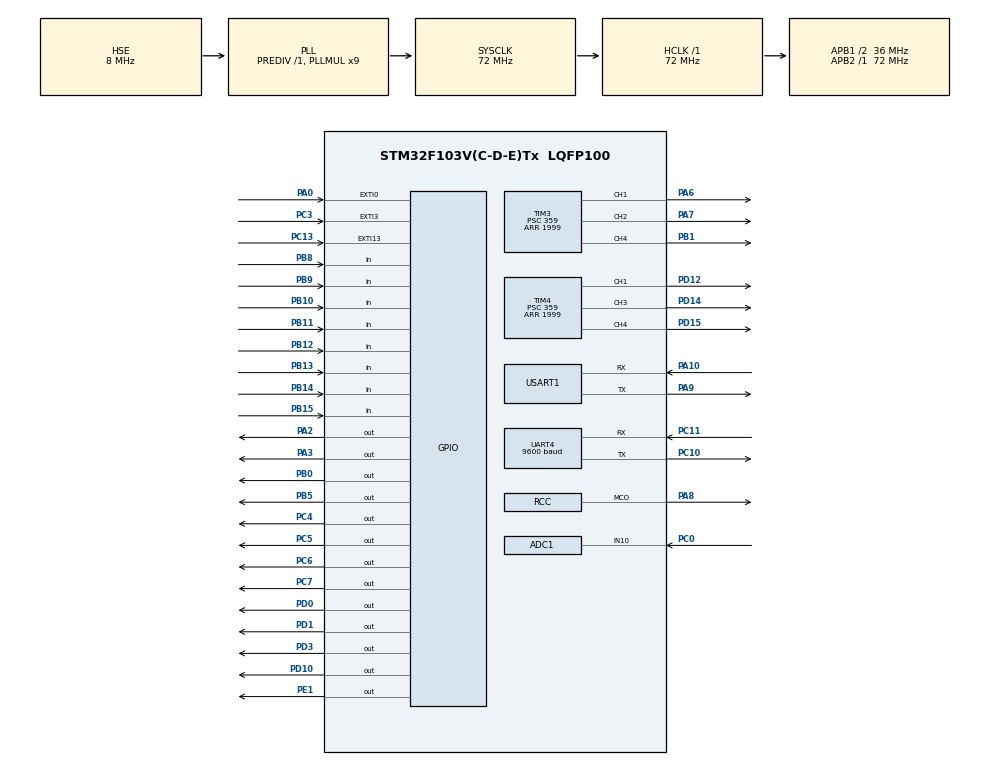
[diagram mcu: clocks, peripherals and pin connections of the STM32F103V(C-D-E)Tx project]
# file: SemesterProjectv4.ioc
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ADC1.Channel-2\#ChannelRegularConversion=ADC_CHANNEL_10
ADC1.ContinuousConvMode=ENABLE
ADC1.NbrOfConversion=1
ADC1.NbrOfConversionFlag=1
ADC1.Rank-2\#ChannelRegularConversion=1
ADC1.SamplingTime-2\#ChannelRegularConversion=ADC_SAMPLETIME_55CYCLES_5
ADC1.master=1
Mcu.Family=STM32F1
Mcu.Name=STM32F103V(C-D-E)Tx
Mcu.Package=LQFP100
NVIC.EXTI0_IRQn=true\:0\:0\:false\:false\:true\:true\:true\:true
NVIC.EXTI15_10_IRQn=true\:0\:0\:false\:false\:true\:true\:true\:true
NVIC.EXTI3_IRQn=true\:0\:0\:false\:false\:true\:true\:true\:true
NVIC.PriorityGroup=NVIC_PRIORITYGROUP_4
NVIC.UART4_IRQn=true\:0\:0\:false\:false\:true\:true\:true\:true
OSC_IN.Mode=HSE-External-Oscillator
OSC_IN.Signal=RCC_OSC_IN
OSC_OUT.Mode=HSE-External-Oscillator
OSC_OUT.Signal=RCC_OSC_OUT
PA0-WKUP.Signal=GPXTI0
PA10.Mode=Asynchronous
PA10.Signal=USART1_RX
PA13.Mode=Serial_Wire
PA13.Signal=SYS_JTMS-SWDIO
PA14.Mode=Serial_Wire
PA14.Signal=SYS_JTCK-SWCLK
PA2.GPIO_Speed=GPIO_SPEED_FREQ_HIGH
PA2.Signal=GPIO_Output
PA3.GPIO_Speed=GPIO_SPEED_FREQ_HIGH
PA3.Signal=GPIO_Output
PA6.Signal=S_TIM3_CH1
PA7.Signal=S_TIM3_CH2
PA8.GPIO_Speed=GPIO_SPEED_FREQ_HIGH
PA8.Mode=Clock-out
PA8.Signal=RCC_MCO
PA9.Mode=Asynchronous
PA9.Signal=USART1_TX
PB0.Signal=GPIO_Output
PB1.Signal=S_TIM3_CH4
PB10.Signal=GPIO_Input
PB11.Signal=GPIO_Input
PB12.Signal=GPIO_Input
PB13.Signal=GPIO_Input
PB14.Signal=GPIO_Input
PB15.Signal=GPIO_Input
PB5.PinState=GPIO_PIN_RESET
PB5.Signal=GPIO_Output
PB8.Signal=GPIO_Input
PB9.Signal=GPIO_Input
PC0.Signal=ADCx_IN10
PC10.Mode=Asynchronous
PC10.Signal=UART4_TX
PC11.Mode=Asynchronous
PC11.Signal=UART4_RX
PC13-TAMPER-RTC.Signal=GPXTI13
PC14-OSC32_IN.Mode=LSE-External-Oscillator
PC14-OSC32_IN.Signal=RCC_OSC32_IN
PC15-OSC32_OUT.Mode=LSE-External-Oscillator
PC15-OSC32_OUT.Signal=RCC_OSC32_OUT
PC3.GPIO_ModeDefaultEXTI=GPIO_MODE_IT_FALLING
PC3.Signal=GPXTI3
PC4.GPIO_Speed=GPIO_SPEED_FREQ_HIGH
PC4.Signal=GPIO_Output
PC5.GPIO_Speed=GPIO_SPEED_FREQ_HIGH
PC5.Signal=GPIO_Output
PC6.Signal=GPIO_Output
PC7.GPIO_ModeDefaultOutputPP=GPIO_MODE_OUTPUT_OD
PC7.GPIO_Speed=GPIO_SPEED_FREQ_HIGH
PC7.Signal=GPIO_Output
PD0.PinState=GPIO_PIN_SET
PD0.Signal=GPIO_Output
PD1.PinState=GPIO_PIN_SET
PD1.Signal=GPIO_Output
PD10.GPIO_Speed=GPIO_SPEED_FREQ_HIGH
PD10.Signal=GPIO_Output
PD12.Signal=S_TIM4_CH1
PD14.Signal=S_TIM4_CH3
PD15.Signal=S_TIM4_CH4
PD3.GPIO_Speed=GPIO_SPEED_FREQ_HIGH
PD3.Signal=GPIO_Output
PE1.GPIO_Speed=GPIO_SPEED_FREQ_HIGH
PE1.PinState=GPIO_PIN_RESET
PE1.Signal=GPIO_Output
ProjectManager.HeapSize=0x200
ProjectManager.StackSize=0x400
ProjectManager.TargetToolchain=STM32CubeIDE
RCC.ADCPresc=RCC_ADCPCLK2_DIV6
RCC.AHBFreq_Value=72000000
RCC.APB1CLKDivider=RCC_HCLK_DIV2
RCC.APB1Freq_Value=36000000
RCC.APB1TimFreq_Value=72000000
RCC.APB2Freq_Value=72000000
RCC.APB2TimFreq_Value=72000000
RCC.HCLKFreq_Value=72000000
RCC.PLLMUL=RCC_PLL_MUL9
RCC.PLLSourceVirtual=RCC_PLLSOURCE_HSE
RCC.RCC_MCOSource=RCC_MCO1SOURCE_PLLCLK
RCC.SYSCLKFreq_VALUE=72000000
RCC.SYSCLKSource=RCC_SYSCLKSOURCE_PLLCLK
RCC.USBFreq_Value=72000000
SH.ADCx_IN10.0=ADC1_IN10,IN10
SH.S_TIM3_CH1.0=TIM3_CH1,PWM Generation1 CH1
SH.S_TIM3_CH2.0=TIM3_CH2,PWM Generation2 CH2
SH.S_TIM3_CH4.0=TIM3_CH4,PWM Generation4 CH4
SH.S_TIM4_CH1.0=TIM4_CH1,PWM Generation1 CH1
SH.S_TIM4_CH3.0=TIM4_CH3,PWM Generation3 CH3
SH.S_TIM4_CH4.0=TIM4_CH4,PWM Generation4 CH4
TIM3.Channel-PWM\ Generation1\ CH1=TIM_CHANNEL_1
TIM3.Channel-PWM\ Generation2\ CH2=TIM_CHANNEL_2
TIM3.Channel-PWM\ Generation4\ CH4=TIM_CHANNEL_4
TIM3.Period=1999
TIM3.Prescaler=359
TIM4.Channel-PWM\ Generation1\ CH1=TIM_CHANNEL_1
TIM4.Channel-PWM\ Generation3\ CH3=TIM_CHANNEL_3
TIM4.Channel-PWM\ Generation4\ CH4=TIM_CHANNEL_4
TIM4.Period=1999
TIM4.Prescaler=359
TIM4.Pulse-PWM\ Generation1\ CH1=0
UART4.BaudRate=9600
UART4.Mode=MODE_RX
UART4.VirtualMode=Asynchronous
USART1.VirtualMode=VM_ASYNC
board=custom

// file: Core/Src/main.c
/* USER CODE BEGIN Header */
/**
  ******************************************************************************
  * @file           : main.c
  * @brief          : Main program body
  ******************************************************************************
  * @attention
  *
  * <h2><center>&copy; Copyright (c) 2019 STMicroelectronics.
  * All rights reserved.</center></h2>
  *
  * This software component is licensed by ST under BSD 3-Clause license,
  * the "License"; You may not use this file except in compliance with the
  * License. You may obtain a copy of the License at:
  *                        opensource.org/licenses/BSD-3-Clause
  *
  ******************************************************************************
  */
/* USER CODE END Header */
#include "main.h"

/* USER CODE BEGIN Includes */
#include "bsp_ov7725.h"
#include "bsp_sccb.h"
#include "bluetooth.h"
#include "image_proc.h"
#include <stdlib.h>
#include <stdio.h>

/* USER CODE END Includes */

/* USER CODE BEGIN PD */
#define BUFFER_LEN 8
#define LEFT_MOTOR 0
#define RIGHT_MOTOR 1
#define FORWARD 1
#define BACKWARD 0
#define LEFT 1
#define RIGHT 0
#define SLACK 25

#define CLAW_CLOSED 1
/* USER CODE END PD */

 ADC_HandleTypeDef hadc1;

TIM_HandleTypeDef htim3;
TIM_HandleTypeDef htim4;

UART_HandleTypeDef huart4;
UART_HandleTypeDef huart1;

/* USER CODE BEGIN PV */
uint8_t RxBuffer[BUFFER_LEN] = {0};
int cmd_received = 0;
uint8_t mode = 0; // mode: 2 = Arm retrieve; 1 = servo; 0 = motor
uint8_t frame[100][320];
int target = 0;
uint32_t adc_val = 0;
float grab_scalar = 0;
uint8_t grab_angle = 0;

uint16_t light_min = 4095;
uint16_t light_max = 0;
uint8_t claw_status = 0;
int light_callibrated = 0;
/* USER CODE END PV */

void SystemClock_Config(void);
static void MX_GPIO_Init(void);
static void MX_UART4_Init(void);
static void MX_TIM3_Init(void);
static void MX_TIM4_Init(void);
static void MX_USART1_UART_Init(void);
static void MX_ADC1_Init(void);
/* USER CODE BEGIN PFP */
volatile uint8_t Ov7725_vsync;
void rotateServo(int servoID, int angle);
void receiveCmd(void);
/* USER CODE END PFP */

/* USER CODE BEGIN 0 */
void HAL_UART_RxCpltCallback(UART_HandleTypeDef *huart)
{
    if(huart->Instance == huart4.Instance){
      cmd_received = 1;
      HAL_UART_Receive_IT(&huart4, RxBuffer, BUFFER_LEN);
    }

}

void rotateServo(int servoID, int angle){
    int angle1 = 450 - angle*(300/135);
    int angle2 = 280-(170/80)*30 +  angle*(170/80);
    int angle3 = 160 + angle*(75/60);
    switch (servoID){
        case 1: // (base)
            TIM3->CCR1 = angle1;
            break;
        case 2: // (up down)
        	TIM3->CCR4 = angle2;
            break;
        case 3: // (grab)
            TIM3->CCR2 = angle3;
            break;
    }
}

void setMotor(int motorID, int direction, int power){
  /*
  Set the motor direction and PWM
  Left motor: motorID = 0
  Right motor: motorID = 1
  Direction: 0 = forward
             1 = backward
  Power: 0<= power <= 100;
  */
 int pulse = 20*power;
  // 2000 pulse = 100%
  // 0 pulse = 0%
 switch(motorID){

  // left motor
  case LEFT_MOTOR:
    TIM4->CCR4 = pulse; //PD15
    HAL_GPIO_WritePin(GPIOD,GPIO_PIN_0,direction);
    break;

  //right motor
  case RIGHT_MOTOR:
    TIM4->CCR3 = pulse; //PD14
    HAL_GPIO_WritePin(GPIOD,GPIO_PIN_1,!direction);
    break;
 }

}

void turn(int direction, int power){
  switch(direction){
    case RIGHT:
      setMotor(LEFT_MOTOR, BACKWARD, power);
      setMotor(RIGHT_MOTOR, FORWARD, power);
      break;
    case LEFT:
      setMotor(LEFT_MOTOR, FORWARD, power);
      setMotor(RIGHT_MOTOR, BACKWARD, power);
      break;
  }
}

void drive(int direction, int power){
  switch(direction){
    case FORWARD:
      setMotor(LEFT_MOTOR, FORWARD, power);
      setMotor(RIGHT_MOTOR, FORWARD, power);
      break;
    case BACKWARD:
      setMotor(LEFT_MOTOR, BACKWARD, power);
      setMotor(RIGHT_MOTOR, BACKWARD, power);
      break;
  }
}

void adjustHeading(void){
  // direction vector: left (negative) | right (positive) | values from -160 to 160
  int power = (abs(target)/160)*20 + 35; // linear PWM adjustment

  if (target == -200){ // if no laser, switch off the motors
    drive(FORWARD, 0);
  }

  else if (target > 50){
    turn(LEFT, power);
  }
  else if (target < -50){
    turn(RIGHT, power);
  }
  else{
    drive(FORWARD, 50);
  }
}

void receiveCmd(){
  if (strncmp(RxBuffer, "Mode00", 6) == 0){
    // Drive mode
    mode = 0;
  }
  else if (strncmp(RxBuffer, "Mode01", 6) == 0){
    // servo mode
    mode = 1;
  }
  else if (strncmp(RxBuffer, "Mode02", 6) == 0){
    // arm retrieval mode
    mode = 2;
  }
  switch(mode){
    // handle motor commands
    case 0:
      if (strncmp(RxBuffer, "STOP00", 6)){
        setMotor(LEFT_MOTOR, FORWARD, 0);
        setMotor(RIGHT_MOTOR, FORWARD, 0);
      }
      else if (RxBuffer[0] == 'M'){
        // "M"(1) - motorID(1) - direction(1) - power(3)
        // M 1 1 050
        int motorID;
        int power;
        int direction;
        RxBuffer[6] = '\0';

        motorID = (int*) RxBuffer[1];
        power = atoi(&RxBuffer[3]);
        direction = (int*) RxBuffer[2];

        setMotor(motorID, direction, power);
      }
      else if (strncmp(RxBuffer, "TR", 2)){
        // TRl100 - turn left with 100% power
        // TRr000 - turn right with 0% power
        int power;
        char* number_chars;
        RxBuffer[6] = '\0';
        if (RxBuffer[3] == '0'){
          number_chars = &RxBuffer[4];
        }
        else{
          number_chars = &RxBuffer[3];
        }
        power = atoi(number_chars);
        switch(RxBuffer[2]){
          case 'l':
            turn(LEFT, power);
            break;
          case 'r':
            turn(RIGHT, power);
            break;
        }
      }
      break;

    // handle servo commands
    case 1:
      if (strncmp(RxBuffer, "RESET0", 6) == 0){
        rotateServo(1, 0);
        rotateServo(2, 100);
        rotateServo(3, 15);
      }
      else if (strncmp(RxBuffer, "Grab00", 6) == 0){
        claw_status = !CLAW_CLOSED;
        clawGrab();
      }
      else if (strncmp(RxBuffer, "Grab01", 6) == 0){
        while(1){
          HAL_ADC_PollForConversion(&hadc1, 200);
          adc_val = HAL_ADC_GetValue(&hadc1);

          if (adc_val <= light_min){adc_val = light_min;}
          else if (adc_val >= light_max){adc_val = light_max;}

          grab_scalar = (adc_val - light_min)/(light_max- light_min);
          grab_angle = (grab_scalar) * 60 + 10;

          rotateServo(3, grab_angle);
        }
      }

      else if (strncmp(RxBuffer, "SR", 2) == 0){
        // Rotate the servo by an arbitrary angle
        // SRb090 - rotate Servo Bottom 090
        int angle;
        char* number_chars;
        RxBuffer[6] = '\0';
        if (RxBuffer[3] == '0'){
          number_chars = &RxBuffer[4];
        }
        else{
          number_chars = &RxBuffer[3];
        }
        angle = atoi(number_chars);

        switch(RxBuffer[2]){
          case 'b': // base
            rotateServo(1, angle);
            break;
          case 'l': // lower
            rotateServo(2, angle);
            break;
          case 'f': // forward
            rotateServo(4, angle);
            break;
          case 'c': // claw
            rotateServo(3, angle);
            break;
        }
      }
      break;
  }
}

void clawGrab(void){
  while(claw_status == !CLAW_CLOSED){
    HAL_ADC_PollForConversion(&hadc1, 200);
    adc_val = HAL_ADC_GetValue(&hadc1);

    if (adc_val <= light_min){adc_val = light_min;}
    else if (adc_val >= light_max){adc_val = light_max;}

    grab_scalar = (adc_val - light_min)/(light_max- light_min);
    grab_angle = (grab_scalar) * 60 + 10;

    rotateServo(3, grab_angle);
    if (grab_angle < 15){
      claw_status = CLAW_CLOSED; HAL_Delay(2000);
    }
  }
}

void clawGrabAction(void){
  // Handle the grab and retrieve function of the claw
  rotateServo(2, 100);
  rotateServo(1, 0);
  HAL_Delay(1000);
  rotateServo(2, 100);
  HAL_Delay(1000);

  clawGrab();

  rotateServo(1, 90);
  HAL_Delay(1000);
  rotateServo(2, 70);
  HAL_Delay(1000);
  rotateServo(3, 70);
  HAL_Delay(1000);
  rotateServo(3, 20);
  HAL_Delay(1000);
  light_callibrated = 1;
  claw_status = !CLAW_CLOSED;
}

/* USER CODE END 0 */

int main(void)
{

  /* MCU Configuration--------------------------------------------------------*/

  /* Reset of all peripherals, Initializes the Flash interface and the Systick. */
  HAL_Init();

  /* Configure the system clock */
  SystemClock_Config();

  /* Initialize all configured peripherals */
  MX_GPIO_Init();
  MX_UART4_Init();
  MX_TIM3_Init();
  MX_TIM4_Init();
  MX_USART1_UART_Init();
  MX_ADC1_Init();
  /* USER CODE BEGIN 2 */
  HAL_TIM_PWM_Start(&htim3, TIM_CHANNEL_1); //PA6 - base
  HAL_TIM_PWM_Start(&htim3, TIM_CHANNEL_4); //PB1 - up down
  HAL_TIM_PWM_Start(&htim4, TIM_CHANNEL_1); //PB6 - grab
  HAL_TIM_PWM_Start(&htim3, TIM_CHANNEL_2); //PA7 - forward_backward

  HAL_TIM_PWM_Start(&htim4, TIM_CHANNEL_3); //motor1
  HAL_TIM_PWM_Start(&htim4, TIM_CHANNEL_4); //motor2

  /* USER CODE END 2 */

  /* Infinite loop */
  /* USER CODE BEGIN WHILE */
  HAL_UART_Receive_IT(&huart4, RxBuffer, BUFFER_LEN);
  HAL_ADCEx_Calibration_Start(&hadc1);
  HAL_ADC_Start(&hadc1);
  // Switch off the motors
  drive(FORWARD, 0);

	while(Ov7725_Init() != SUCCESS);
	Ov7725_vsync = 0;

  while (1)
  {
    if (cmd_received){
      receiveCmd();
      cmd_received = 0;
    }

    switch(mode){
      // Drive mode
      case 0:
        if (Ov7725_vsync == 2){
          FIFO_PREPARE;
          saveImg();
          getMiddleDistance();
          adjustHeading();
          Ov7725_vsync = 0;
          HAL_Delay(700);
        }
        drive(FORWARD, 0);
        break;

      case 1:
        // BT arm mode
        break;

      case 2:
        // Arm retrieve mode
        if (light_callibrated == 1){clawGrabAction();}
        break;
    }

    /* USER CODE END WHILE */

  }
}

void SystemClock_Config(void)
{
  RCC_OscInitTypeDef RCC_OscInitStruct = {0};
  RCC_ClkInitTypeDef RCC_ClkInitStruct = {0};
  RCC_PeriphCLKInitTypeDef PeriphClkInit = {0};

  /** Initializes the RCC Oscillators according to the specified parameters
  * in the RCC_OscInitTypeDef structure.
  */
  RCC_OscInitStruct.OscillatorType = RCC_OSCILLATORTYPE_HSE;
  RCC_OscInitStruct.HSEState = RCC_HSE_ON;
  RCC_OscInitStruct.HSEPredivValue = RCC_HSE_PREDIV_DIV1;
  RCC_OscInitStruct.HSIState = RCC_HSI_ON;
  RCC_OscInitStruct.PLL.PLLState = RCC_PLL_ON;
  RCC_OscInitStruct.PLL.PLLSource = RCC_PLLSOURCE_HSE;
  RCC_OscInitStruct.PLL.PLLMUL = RCC_PLL_MUL9;
  if (HAL_RCC_OscConfig(&RCC_OscInitStruct) != HAL_OK)
  {
    Error_Handler();
  }

  /** Initializes the CPU, AHB and APB buses clocks
  */
  RCC_ClkInitStruct.ClockType = RCC_CLOCKTYPE_HCLK|RCC_CLOCKTYPE_SYSCLK
                              |RCC_CLOCKTYPE_PCLK1|RCC_CLOCKTYPE_PCLK2;
  RCC_ClkInitStruct.SYSCLKSource = RCC_SYSCLKSOURCE_PLLCLK;
  RCC_ClkInitStruct.AHBCLKDivider = RCC_SYSCLK_DIV1;
  RCC_ClkInitStruct.APB1CLKDivider = RCC_HCLK_DIV2;
  RCC_ClkInitStruct.APB2CLKDivider = RCC_HCLK_DIV1;

  if (HAL_RCC_ClockConfig(&RCC_ClkInitStruct, FLASH_LATENCY_2) != HAL_OK)
  {
    Error_Handler();
  }
  PeriphClkInit.PeriphClockSelection = RCC_PERIPHCLK_ADC;
  PeriphClkInit.AdcClockSelection = RCC_ADCPCLK2_DIV6;
  if (HAL_RCCEx_PeriphCLKConfig(&PeriphClkInit) != HAL_OK)
  {
    Error_Handler();
  }
  HAL_RCC_MCOConfig(RCC_MCO, RCC_MCO1SOURCE_PLLCLK, RCC_MCODIV_1);
}

static void MX_ADC1_Init(void)
{

  ADC_ChannelConfTypeDef sConfig = {0};

  /** Common config
  */
  hadc1.Instance = ADC1;
  hadc1.Init.ScanConvMode = ADC_SCAN_DISABLE;
  hadc1.Init.ContinuousConvMode = ENABLE;
  hadc1.Init.DiscontinuousConvMode = DISABLE;
  hadc1.Init.ExternalTrigConv = ADC_SOFTWARE_START;
  hadc1.Init.DataAlign = ADC_DATAALIGN_RIGHT;
  hadc1.Init.NbrOfConversion = 1;
  if (HAL_ADC_Init(&hadc1) != HAL_OK)
  {
    Error_Handler();
  }

  /** Configure Regular Channel
  */
  sConfig.Channel = ADC_CHANNEL_10;
  sConfig.Rank = ADC_REGULAR_RANK_1;
  sConfig.SamplingTime = ADC_SAMPLETIME_55CYCLES_5;
  if (HAL_ADC_ConfigChannel(&hadc1, &sConfig) != HAL_OK)
  {
    Error_Handler();
  }

}

static void MX_TIM3_Init(void)
{

  TIM_MasterConfigTypeDef sMasterConfig = {0};
  TIM_OC_InitTypeDef sConfigOC = {0};

  htim3.Instance = TIM3;
  htim3.Init.Prescaler = 359;
  htim3.Init.CounterMode = TIM_COUNTERMODE_UP;
  htim3.Init.Period = 1999;
  htim3.Init.ClockDivision = TIM_CLOCKDIVISION_DIV1;
  htim3.Init.AutoReloadPreload = TIM_AUTORELOAD_PRELOAD_DISABLE;
  if (HAL_TIM_PWM_Init(&htim3) != HAL_OK)
  {
    Error_Handler();
  }
  sMasterConfig.MasterOutputTrigger = TIM_TRGO_RESET;
  sMasterConfig.MasterSlaveMode = TIM_MASTERSLAVEMODE_DISABLE;
  if (HAL_TIMEx_MasterConfigSynchronization(&htim3, &sMasterConfig) != HAL_OK)
  {
    Error_Handler();
  }
  sConfigOC.OCMode = TIM_OCMODE_PWM1;
  sConfigOC.Pulse = 0;
  sConfigOC.OCPolarity = TIM_OCPOLARITY_HIGH;
  sConfigOC.OCFastMode = TIM_OCFAST_DISABLE;
  if (HAL_TIM_PWM_ConfigChannel(&htim3, &sConfigOC, TIM_CHANNEL_1) != HAL_OK)
  {
    Error_Handler();
  }
  if (HAL_TIM_PWM_ConfigChannel(&htim3, &sConfigOC, TIM_CHANNEL_2) != HAL_OK)
  {
    Error_Handler();
  }
  if (HAL_TIM_PWM_ConfigChannel(&htim3, &sConfigOC, TIM_CHANNEL_4) != HAL_OK)
  {
    Error_Handler();
  }
  HAL_TIM_MspPostInit(&htim3);

}

static void MX_TIM4_Init(void)
{

  TIM_MasterConfigTypeDef sMasterConfig = {0};
  TIM_OC_InitTypeDef sConfigOC = {0};

  htim4.Instance = TIM4;
  htim4.Init.Prescaler = 359;
  htim4.Init.CounterMode = TIM_COUNTERMODE_UP;
  htim4.Init.Period = 1999;
  htim4.Init.ClockDivision = TIM_CLOCKDIVISION_DIV1;
  htim4.Init.AutoReloadPreload = TIM_AUTORELOAD_PRELOAD_DISABLE;
  if (HAL_TIM_PWM_Init(&htim4) != HAL_OK)
  {
    Error_Handler();
  }
  sMasterConfig.MasterOutputTrigger = TIM_TRGO_RESET;
  sMasterConfig.MasterSlaveMode = TIM_MASTERSLAVEMODE_DISABLE;
  if (HAL_TIMEx_MasterConfigSynchronization(&htim4, &sMasterConfig) != HAL_OK)
  {
    Error_Handler();
  }
  sConfigOC.OCMode = TIM_OCMODE_PWM1;
  sConfigOC.Pulse = 0;
  sConfigOC.OCPolarity = TIM_OCPOLARITY_HIGH;
  sConfigOC.OCFastMode = TIM_OCFAST_DISABLE;
  if (HAL_TIM_PWM_ConfigChannel(&htim4, &sConfigOC, TIM_CHANNEL_1) != HAL_OK)
  {
    Error_Handler();
  }
  if (HAL_TIM_PWM_ConfigChannel(&htim4, &sConfigOC, TIM_CHANNEL_3) != HAL_OK)
  {
    Error_Handler();
  }
  if (HAL_TIM_PWM_ConfigChannel(&htim4, &sConfigOC, TIM_CHANNEL_4) != HAL_OK)
  {
    Error_Handler();
  }
  HAL_TIM_MspPostInit(&htim4);

}

static void MX_UART4_Init(void)
{

  huart4.Instance = UART4;
  huart4.Init.BaudRate = 9600;
  huart4.Init.WordLength = UART_WORDLENGTH_8B;
  huart4.Init.StopBits = UART_STOPBITS_1;
  huart4.Init.Parity = UART_PARITY_NONE;
  huart4.Init.Mode = UART_MODE_RX;
  huart4.Init.HwFlowCtl = UART_HWCONTROL_NONE;
  huart4.Init.OverSampling = UART_OVERSAMPLING_16;
  if (HAL_UART_Init(&huart4) != HAL_OK)
  {
    Error_Handler();
  }

}

static void MX_USART1_UART_Init(void)
{

  huart1.Instance = USART1;
  huart1.Init.BaudRate = 115200;
  huart1.Init.WordLength = UART_WORDLENGTH_8B;
  huart1.Init.StopBits = UART_STOPBITS_1;
  huart1.Init.Parity = UART_PARITY_NONE;
  huart1.Init.Mode = UART_MODE_TX_RX;
  huart1.Init.HwFlowCtl = UART_HWCONTROL_NONE;
  huart1.Init.OverSampling = UART_OVERSAMPLING_16;
  if (HAL_UART_Init(&huart1) != HAL_OK)
  {
    Error_Handler();
  }

}

static void MX_GPIO_Init(void)
{
  GPIO_InitTypeDef GPIO_InitStruct = {0};

  /* GPIO Ports Clock Enable */
  __HAL_RCC_GPIOC_CLK_ENABLE();
  __HAL_RCC_GPIOA_CLK_ENABLE();
  __HAL_RCC_GPIOB_CLK_ENABLE();
  __HAL_RCC_GPIOD_CLK_ENABLE();
  __HAL_RCC_GPIOE_CLK_ENABLE();

  /*Configure GPIO pin Output Level */
  HAL_GPIO_WritePin(GPIOA, GPIO_PIN_2|GPIO_PIN_3, GPIO_PIN_RESET);

  /*Configure GPIO pin Output Level */
  HAL_GPIO_WritePin(GPIOC, GPIO_PIN_4|GPIO_PIN_5|GPIO_PIN_6|GPIO_PIN_7, GPIO_PIN_RESET);

  /*Configure GPIO pin Output Level */
  HAL_GPIO_WritePin(GPIOB, GPIO_PIN_0|GPIO_PIN_5, GPIO_PIN_RESET);

  /*Configure GPIO pin Output Level */
  HAL_GPIO_WritePin(GPIOD, GPIO_PIN_10|GPIO_PIN_3, GPIO_PIN_RESET);

  /*Configure GPIO pin Output Level */
  HAL_GPIO_WritePin(GPIOD, GPIO_PIN_0|GPIO_PIN_1, GPIO_PIN_SET);

  /*Configure GPIO pin Output Level */
  HAL_GPIO_WritePin(GPIOE, GPIO_PIN_1, GPIO_PIN_RESET);

  /*Configure GPIO pin : PC13 */
  GPIO_InitStruct.Pin = GPIO_PIN_13;
  GPIO_InitStruct.Mode = GPIO_MODE_IT_RISING;
  GPIO_InitStruct.Pull = GPIO_NOPULL;
  HAL_GPIO_Init(GPIOC, &GPIO_InitStruct);

  /*Configure GPIO pin : PC3 */
  GPIO_InitStruct.Pin = GPIO_PIN_3;
  GPIO_InitStruct.Mode = GPIO_MODE_IT_FALLING;
  GPIO_InitStruct.Pull = GPIO_NOPULL;
  HAL_GPIO_Init(GPIOC, &GPIO_InitStruct);

  /*Configure GPIO pin : PA0 */
  GPIO_InitStruct.Pin = GPIO_PIN_0;
  GPIO_InitStruct.Mode = GPIO_MODE_IT_RISING;
  GPIO_InitStruct.Pull = GPIO_NOPULL;
  HAL_GPIO_Init(GPIOA, &GPIO_InitStruct);

  /*Configure GPIO pins : PA2 PA3 */
  GPIO_InitStruct.Pin = GPIO_PIN_2|GPIO_PIN_3;
  GPIO_InitStruct.Mode = GPIO_MODE_OUTPUT_PP;
  GPIO_InitStruct.Pull = GPIO_NOPULL;
  GPIO_InitStruct.Speed = GPIO_SPEED_FREQ_HIGH;
  HAL_GPIO_Init(GPIOA, &GPIO_InitStruct);

  /*Configure GPIO pins : PC4 PC5 */
  GPIO_InitStruct.Pin = GPIO_PIN_4|GPIO_PIN_5;
  GPIO_InitStruct.Mode = GPIO_MODE_OUTPUT_PP;
  GPIO_InitStruct.Pull = GPIO_NOPULL;
  GPIO_InitStruct.Speed = GPIO_SPEED_FREQ_HIGH;
  HAL_GPIO_Init(GPIOC, &GPIO_InitStruct);

  /*Configure GPIO pins : PB0 PB5 */
  GPIO_InitStruct.Pin = GPIO_PIN_0|GPIO_PIN_5;
  GPIO_InitStruct.Mode = GPIO_MODE_OUTPUT_PP;
  GPIO_InitStruct.Pull = GPIO_NOPULL;
  GPIO_InitStruct.Speed = GPIO_SPEED_FREQ_LOW;
  HAL_GPIO_Init(GPIOB, &GPIO_InitStruct);

  /*Configure GPIO pins : PB10 PB11 PB12 PB13
                           PB14 PB15 PB8 PB9 */
  GPIO_InitStruct.Pin = GPIO_PIN_10|GPIO_PIN_11|GPIO_PIN_12|GPIO_PIN_13
                          |GPIO_PIN_14|GPIO_PIN_15|GPIO_PIN_8|GPIO_PIN_9;
  GPIO_InitStruct.Mode = GPIO_MODE_INPUT;
  GPIO_InitStruct.Pull = GPIO_NOPULL;
  HAL_GPIO_Init(GPIOB, &GPIO_InitStruct);

  /*Configure GPIO pins : PD10 PD3 */
  GPIO_InitStruct.Pin = GPIO_PIN_10|GPIO_PIN_3;
  GPIO_InitStruct.Mode = GPIO_MODE_OUTPUT_PP;
  GPIO_InitStruct.Pull = GPIO_NOPULL;
  GPIO_InitStruct.Speed = GPIO_SPEED_FREQ_HIGH;
  HAL_GPIO_Init(GPIOD, &GPIO_InitStruct);

  /*Configure GPIO pin : PC6 */
  GPIO_InitStruct.Pin = GPIO_PIN_6;
  GPIO_InitStruct.Mode = GPIO_MODE_OUTPUT_PP;
  GPIO_InitStruct.Pull = GPIO_NOPULL;
  GPIO_InitStruct.Speed = GPIO_SPEED_FREQ_LOW;
  HAL_GPIO_Init(GPIOC, &GPIO_InitStruct);

  /*Configure GPIO pin : PC7 */
  GPIO_InitStruct.Pin = GPIO_PIN_7;
  GPIO_InitStruct.Mode = GPIO_MODE_OUTPUT_OD;
  GPIO_InitStruct.Pull = GPIO_NOPULL;
  GPIO_InitStruct.Speed = GPIO_SPEED_FREQ_HIGH;
  HAL_GPIO_Init(GPIOC, &GPIO_InitStruct);

  /*Configure GPIO pin : PA8 */
  GPIO_InitStruct.Pin = GPIO_PIN_8;
  GPIO_InitStruct.Mode = GPIO_MODE_AF_PP;
  GPIO_InitStruct.Speed = GPIO_SPEED_FREQ_HIGH;
  HAL_GPIO_Init(GPIOA, &GPIO_InitStruct);

  /*Configure GPIO pins : PD0 PD1 */
  GPIO_InitStruct.Pin = GPIO_PIN_0|GPIO_PIN_1;
  GPIO_InitStruct.Mode = GPIO_MODE_OUTPUT_PP;
  GPIO_InitStruct.Pull = GPIO_NOPULL;
  GPIO_InitStruct.Speed = GPIO_SPEED_FREQ_LOW;
  HAL_GPIO_Init(GPIOD, &GPIO_InitStruct);

  /*Configure GPIO pin : PE1 */
  GPIO_InitStruct.Pin = GPIO_PIN_1;
  GPIO_InitStruct.Mode = GPIO_MODE_OUTPUT_PP;
  GPIO_InitStruct.Pull = GPIO_NOPULL;
  GPIO_InitStruct.Speed = GPIO_SPEED_FREQ_HIGH;
  HAL_GPIO_Init(GPIOE, &GPIO_InitStruct);

  /* EXTI interrupt init*/
  HAL_NVIC_SetPriority(EXTI0_IRQn, 0, 0);
  HAL_NVIC_EnableIRQ(EXTI0_IRQn);

  HAL_NVIC_SetPriority(EXTI3_IRQn, 0, 0);
  HAL_NVIC_EnableIRQ(EXTI3_IRQn);

  HAL_NVIC_SetPriority(EXTI15_10_IRQn, 0, 0);
  HAL_NVIC_EnableIRQ(EXTI15_10_IRQn);

}

void Error_Handler(void)
{
}
